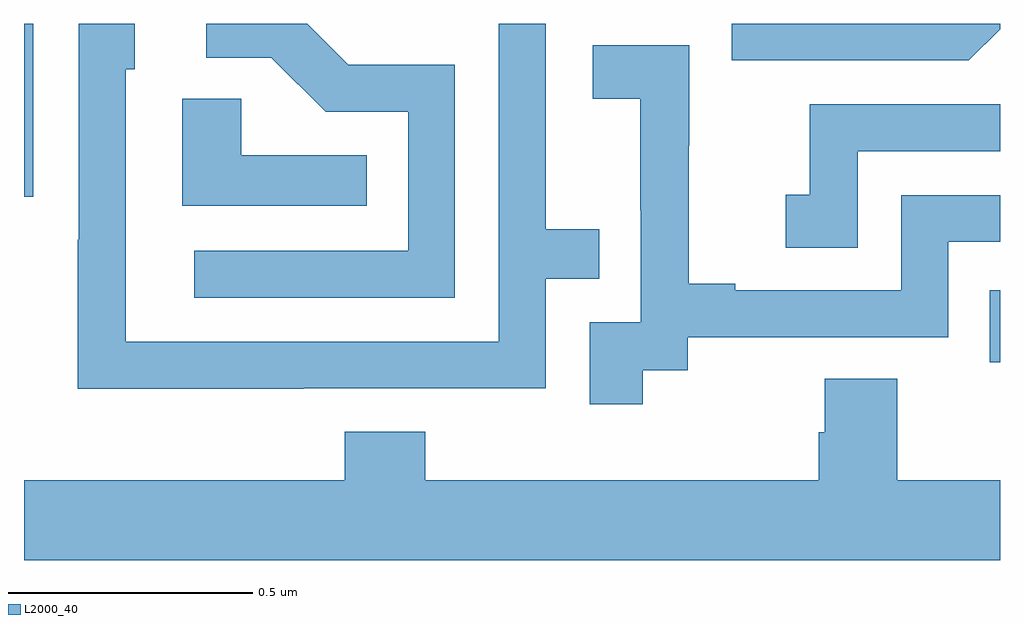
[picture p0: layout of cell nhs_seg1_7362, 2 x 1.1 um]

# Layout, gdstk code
import gdstk
lib = gdstk.Library(unit=1e-6, precision=1e-09)
def R(c, l, rs):  # rectangles x0, y0, x1, y1
    for r in rs: c.add(gdstk.rectangle(r[:2], r[2:], *l))
def P(c, l, *ps):  # polygons
    for p in ps: c.add(gdstk.Polygon(p, *l))
L2000_40 = (2000, 40)

nhs_seg1_7362 = lib.new_cell('nhs_seg1_7362')
R(nhs_seg1_7362, L2000_40, [(204.979,517.506,205,517.653), (203,517.845,203.019,518.199)])
P(nhs_seg1_7362, L2000_40, [(203.883,518.115),(203.664,518.115),(203.58,518.199),(203.373,518.199),(203.373,518.13),(203.507,518.13),(203.618,518.019),(203.787,518.019),(203.787,517.734),(203.349,517.734),(203.349,517.638),(203.883,517.638)],
  [(203.573,517.452),(204.069,517.452),(204.069,517.677),(204.179,517.677),(204.179,517.778),(204.069,517.778),(204.069,518.199),(203.973,518.199),(203.973,517.548),(203.208,517.548),(203.208,518.106),(203.227,518.106),(203.227,518.199),(203.112,518.199),(203.112,517.757),(203.11,517.757),(203.11,517.451),(203.573,517.451)],
  [(205,518.188),(205,518.199),(204.45,518.199),(204.45,518.124),(204.936,518.124)],
  [(204.268,517.489),(204.36,517.489),(204.36,517.557),(204.894,517.557),(204.894,517.752),(205,517.752),(205,517.848),(204.798,517.848),(204.798,517.653),(204.457,517.653),(204.457,517.666),(204.362,517.666),(204.362,517.949),(204.363,517.949),(204.363,518.155),(204.165,518.155),(204.165,518.045),(204.263,518.045),(204.263,517.817),(204.264,517.817),(204.264,517.587),(204.159,517.587),(204.159,517.419),(204.268,517.419)],
  [(203.702,517.93),(203.445,517.93),(203.445,518.045),(203.324,518.045),(203.324,517.826),(203.702,517.826)],
  [(204.708,517.938),(205,517.938),(205,518.034),(204.61,518.034),(204.61,517.849),(204.561,517.849),(204.561,517.74),(204.708,517.74)],
  [(205,517.264),(204.789,517.264),(204.789,517.472),(204.641,517.472),(204.641,517.362),(204.629,517.362),(204.629,517.264),(203.822,517.264),(203.822,517.363),(203.657,517.363),(203.657,517.264),(203,517.264),(203,517.1),(205,517.1)])

lib.write_gds('nhs_seg1_7362.gds')
